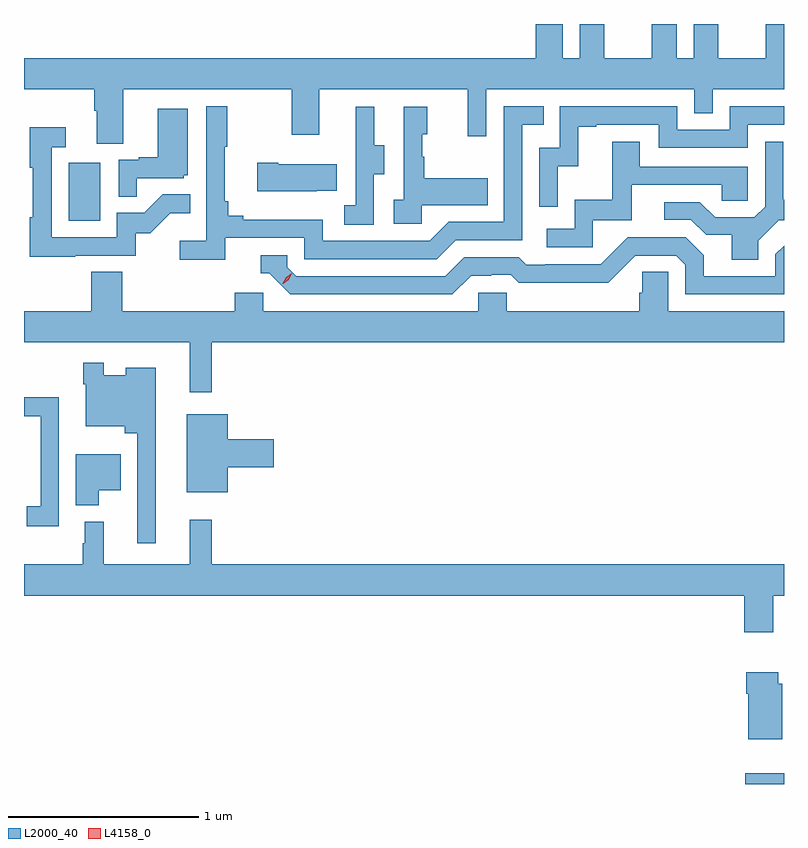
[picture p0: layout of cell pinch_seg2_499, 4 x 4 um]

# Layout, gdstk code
import gdstk
lib = gdstk.Library(unit=1e-6, precision=1e-09)
def R(c, l, rs):  # rectangles x0, y0, x1, y1
    for r in rs: c.add(gdstk.rectangle(r[:2], r[2:], *l))
def P(c, l, *ps):  # polygons
    for p in ps: c.add(gdstk.Polygon(p, *l))
L2000_40 = (2000, 40)
L4158_0 = (4158, 0)

pinch_seg2_499 = lib.new_cell('pinch_seg2_499')
R(pinch_seg2_499, L2000_40, [(987.837,592.032,988.042,592.089), (984.278,594.996,984.442,595.303)])
P(pinch_seg2_499, L2000_40, [(987.566,595.852),(987.478,595.852),(987.478,596.032),(987.347,596.032),(987.347,595.852),(987.097,595.852),(987.097,596.032),(986.966,596.032),(986.966,595.852),(986.878,595.852),(986.878,596.032),(986.735,596.032),(986.735,595.852),(984.042,595.852),(984.042,595.688),(984.413,595.688),(984.413,595.576),(984.425,595.576),(984.425,595.402),(984.565,595.402),(984.565,595.688),(985.45,595.688),(985.45,595.449),(985.597,595.449),(985.597,595.688),(986.378,595.688),(986.378,595.44),(986.475,595.44),(986.475,595.688),(987.57,595.688),(987.57,595.561),(987.666,595.561),(987.666,595.688),(988.042,595.688),(988.042,596.032),(987.947,596.032),(987.947,595.852),(987.697,595.852),(987.697,596.032),(987.566,596.032)],
  [(985.1,594.906),(985.518,594.906),(985.518,594.795),(986.215,594.795),(986.314,594.894),(986.664,594.894),(986.664,595.503),(986.777,595.503),(986.777,595.599),(986.568,595.599),(986.568,594.99),(986.277,594.99),(986.178,594.891),(985.614,594.891),(985.614,595.003),(985.195,595.003),(985.195,595.022),(985.118,595.022),(985.118,595.099),(985.099,595.099),(985.099,595.387),(985.111,595.387),(985.111,595.6),(985.002,595.6),(985.002,594.892),(984.861,594.892),(984.861,594.79),(985.1,594.79)],
  [(986.85,595.283),(986.96,595.283),(986.96,595.491),(987.055,595.491),(987.055,595.503),(987.384,595.503),(987.384,595.38),(987.852,595.38),(987.852,595.503),(988.042,595.503),(988.042,595.599),(987.756,595.599),(987.756,595.476),(987.48,595.476),(987.48,595.599),(986.862,595.599),(986.862,595.38),(986.754,595.38),(986.754,595.071),(986.85,595.071)],
  [(986.136,595.079),(986.483,595.079),(986.483,595.219),(986.149,595.219),(986.149,595.334),(986.139,595.334),(986.139,595.452),(986.164,595.452),(986.164,595.597),(986.04,595.597),(986.04,595.106),(985.989,595.106),(985.989,594.981),(986.136,594.981)],
  [(985.884,595.24),(985.939,595.24),(985.939,595.395),(985.885,595.395),(985.885,595.597),(985.787,595.597),(985.787,595.383),(985.788,595.383),(985.788,595.079),(985.728,595.079),(985.728,594.976),(985.884,594.976)],
  [(984.635,595.221),(984.882,595.221),(984.882,595.236),(984.904,595.236),(984.904,595.585),(984.746,595.585),(984.746,595.33),(984.647,595.33),(984.647,595.317),(984.54,595.317),(984.54,595.123),(984.635,595.123)],
  [(984.311,594.813),(984.63,594.813),(984.63,594.93),(984.706,594.93),(984.813,595.037),(984.917,595.037),(984.917,595.136),(984.773,595.136),(984.675,595.038),(984.531,595.038),(984.531,594.909),(984.189,594.909),(984.189,595.383),(984.262,595.383),(984.262,595.489),(984.073,595.489),(984.073,595.276),(984.088,595.276),(984.088,595.016),(984.073,595.016),(984.073,594.808),(984.311,594.808)],
  [(987.036,594.999),(987.241,594.999),(987.241,595.185),(987.715,595.185),(987.715,595.101),(987.852,595.101),(987.852,595.281),(987.283,595.281),(987.283,595.411),(987.139,595.411),(987.139,595.108),(986.94,595.108),(986.94,594.954),(986.793,594.954),(986.793,594.858),(987.036,594.858)],
  [(987.907,594.892),(988.014,594.999),(988.042,594.999),(988.042,595.108),(988.039,595.108),(988.039,595.411),(987.942,595.411),(987.942,595.071),(987.885,595.014),(987.679,595.014),(987.598,595.095),(987.411,595.095),(987.411,595.002),(987.552,595.002),(987.632,594.922),(987.767,594.922),(987.767,594.79),(987.907,594.79)],
  [(985.583,595.154),(985.688,595.154),(985.688,595.294),(985.381,595.294),(985.381,595.302),(985.269,595.302),(985.269,595.151),(985.583,595.151)],
  [(986.395,594.708),(986.502,594.708),(986.502,594.711),(986.605,594.711),(986.647,594.669),(986.88,594.669),(986.88,594.671),(987.116,594.671),(987.258,594.813),(987.474,594.813),(987.522,594.765),(987.522,594.609),(988.042,594.609),(988.042,594.865),(987.996,594.819),(987.996,594.705),(987.619,594.705),(987.619,594.815),(987.525,594.909),(987.219,594.909),(987.078,594.768),(986.785,594.768),(986.785,594.765),(986.686,594.765),(986.647,594.804),(986.358,594.804),(986.259,594.705),(985.476,594.705),(985.428,594.753),(985.428,594.816),(985.289,594.816),(985.289,594.72),(985.332,594.72),(985.443,594.609),(986.296,594.609)],
  [(985.031,594.356),(988.042,594.356),(988.042,594.52),(987.432,594.52),(987.432,594.728),(987.295,594.728),(987.295,594.618),(987.281,594.618),(987.281,594.52),(986.583,594.52),(986.583,594.618),(986.433,594.618),(986.433,594.52),(985.302,594.52),(985.302,594.618),(985.151,594.618),(985.151,594.52),(984.56,594.52),(984.56,594.728),(984.395,594.728),(984.395,594.52),(984.042,594.52),(984.042,594.356),(984.914,594.356),(984.914,594.093),(985.031,594.093)],
  [(984.736,594.223),(984.578,594.223),(984.578,594.184),(984.462,594.184),(984.462,594.25),(984.354,594.25),(984.354,594.137),(984.366,594.137),(984.366,593.915),(984.571,593.915),(984.571,593.879),(984.639,593.879),(984.639,593.298),(984.736,593.298)],
  [(984.225,594.068),(984.042,594.068),(984.042,593.967),(984.129,593.967),(984.129,593.493),(984.057,593.493),(984.057,593.388),(984.225,593.388)],
  [(985.114,593.699),(985.357,593.699),(985.357,593.846),(985.114,593.846),(985.114,593.977),(984.899,593.977),(984.899,593.567),(985.114,593.567)],
  [(984.436,593.579),(984.55,593.579),(984.55,593.767),(984.314,593.767),(984.314,593.498),(984.436,593.498)],
  [(987.985,593.024),(988.042,593.024),(988.042,593.188),(985.031,593.188),(985.031,593.422),(984.914,593.422),(984.914,593.188),(984.461,593.188),(984.461,593.413),(984.362,593.413),(984.362,593.3),(984.351,593.3),(984.351,593.188),(984.042,593.188),(984.042,593.024),(987.833,593.024),(987.833,592.83),(987.985,592.83)],
  [(988.033,592.56),(988.012,592.56),(988.012,592.621),(987.842,592.621),(987.842,592.508),(987.854,592.508),(987.854,592.268),(988.033,592.268)])
P(pinch_seg2_499, L4158_0, [(985.405,594.666),(985.405,594.667),(985.421,594.699),(985.452,594.719),(985.452,594.719),(985.452,594.719),(985.436,594.686),(985.406,594.666)])

lib.write_gds('pinch_seg2_499.gds')
